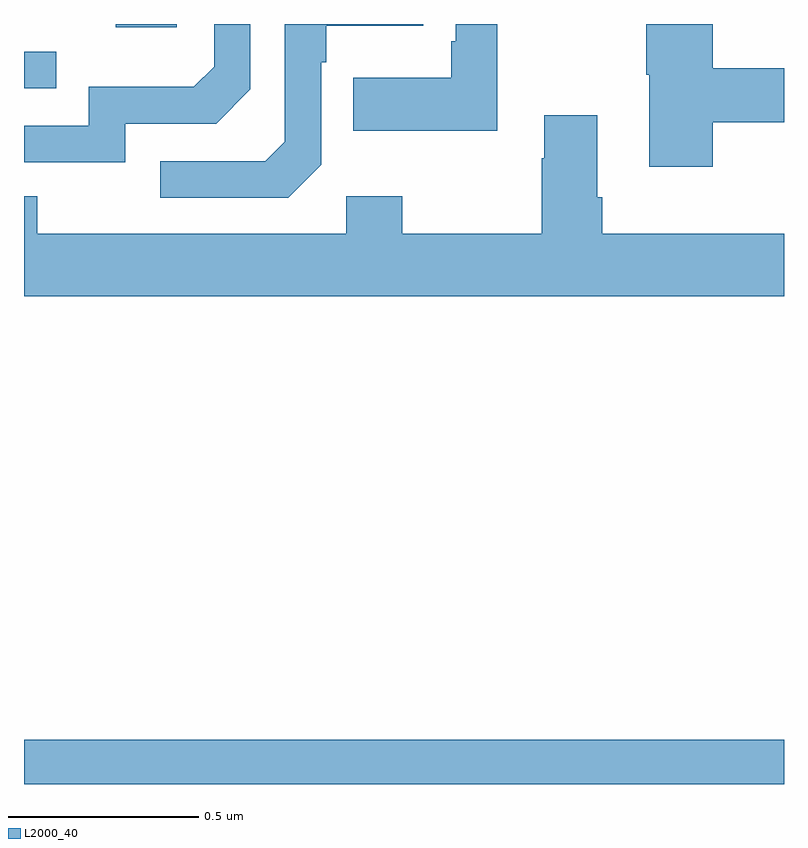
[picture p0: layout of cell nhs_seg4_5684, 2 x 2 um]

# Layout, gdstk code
import gdstk
lib = gdstk.Library(unit=1e-6, precision=1e-09)
def R(c, l, rs):  # rectangles x0, y0, x1, y1
    for r in rs: c.add(gdstk.rectangle(r[:2], r[2:], *l))
def P(c, l, *ps):  # polygons
    for p in ps: c.add(gdstk.Polygon(p, *l))
L2000_40 = (2000, 40)

nhs_seg4_5684 = lib.new_cell('nhs_seg4_5684')
R(nhs_seg4_5684, L2000_40, [(181,764.9,183,765.016), (181,766.731,181.085,766.827), (181.241,766.892,181.402,766.9)])
P(nhs_seg4_5684, L2000_40, [(182.245,766.9),(182.136,766.9),(182.136,766.855),(182.124,766.855),(182.124,766.759),(181.867,766.759),(181.867,766.619),(182.245,766.619)],
  [(181.266,766.638),(181.506,766.638),(181.596,766.728),(181.596,766.9),(181.5,766.9),(181.5,766.788),(181.447,766.735),(181.17,766.735),(181.17,766.632),(181,766.632),(181,766.536),(181.266,766.536)],
  [(181.782,766.53),(181.782,766.799),(181.795,766.799),(181.795,766.895),(182.051,766.895),(182.051,766.9),(181.686,766.9),(181.686,766.59),(181.635,766.539),(181.359,766.539),(181.359,766.443),(181.695,766.443)],
  [(182.813,766.642),(183,766.642),(183,766.784),(182.813,766.784),(182.813,766.9),(182.638,766.9),(182.638,766.767),(182.645,766.767),(182.645,766.524),(182.813,766.524)],
  [(183,766.348),(182.522,766.348),(182.522,766.444),(182.509,766.444),(182.509,766.66),(182.369,766.66),(182.369,766.547),(182.362,766.547),(182.362,766.348),(181.995,766.348),(181.995,766.447),(181.848,766.447),(181.848,766.348),(181.035,766.348),(181.035,766.447),(181,766.447),(181,766.184),(183,766.184)])

lib.write_gds('nhs_seg4_5684.gds')
